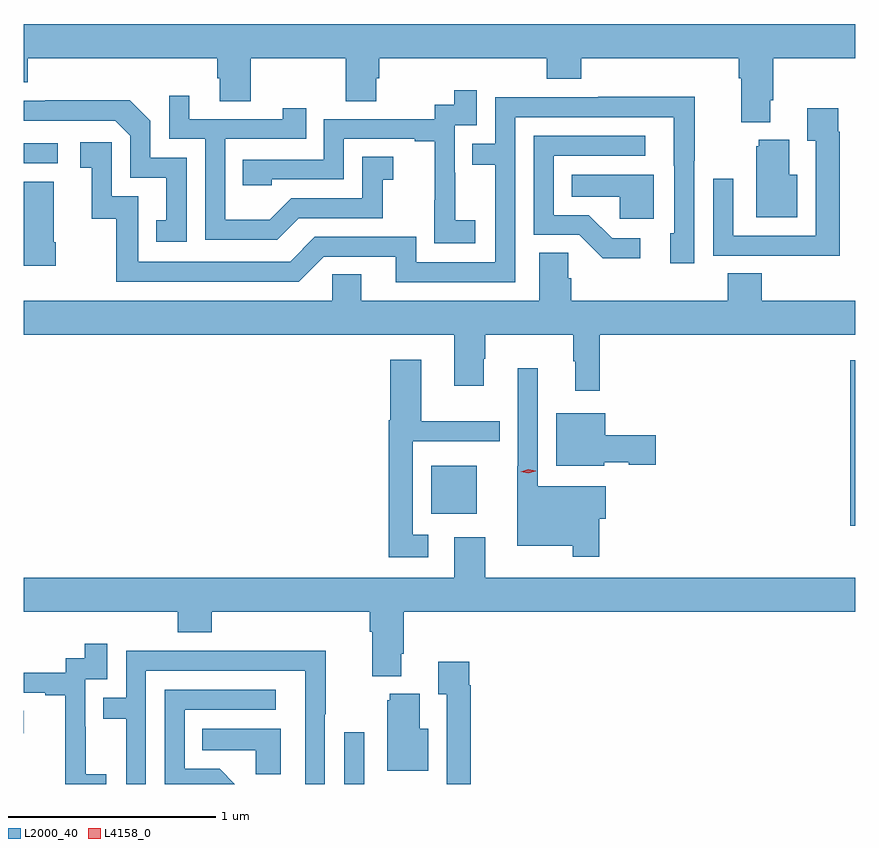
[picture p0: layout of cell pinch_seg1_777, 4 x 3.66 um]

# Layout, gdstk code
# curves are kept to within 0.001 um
import gdstk
lib = gdstk.Library(unit=1e-6, precision=1e-09)
def R(c, l, rs):  # rectangles x0, y0, x1, y1
    for r in rs: c.add(gdstk.rectangle(r[:2], r[2:], *l))
def P(c, l, *ps):  # polygons
    for p in ps: c.add(gdstk.Polygon(p, *l))
L2000_40 = (2000, 40)
L4158_0 = (4158, 0)

pinch_seg1_777 = lib.new_cell('pinch_seg1_777')
R(pinch_seg1_777, L2000_40, [(554.511,542.912,554.607,543.16), (552.969,543.155,552.97,543.265), (556.945,544.154,556.969,544.951), (554.93,544.211,555.148,544.444), (552.969,545.898,553.132,545.994)])
P(pinch_seg1_777, L2000_40, [(556.561,546.202),(556.574,546.202),(556.574,546.404),(556.969,546.404),(556.969,546.568),(552.969,546.568),(552.969,546.287),(552.989,546.287),(552.989,546.404),(553.901,546.404),(553.901,546.306),(553.913,546.306),(553.913,546.196),(554.061,546.196),(554.061,546.404),(554.518,546.404),(554.518,546.196),(554.665,546.196),(554.665,546.306),(554.678,546.306),(554.678,546.404),(555.485,546.404),(555.485,546.305),(555.65,546.305),(555.65,546.404),(556.409,546.404),(556.409,546.308),(556.421,546.308),(556.421,546.095),(556.561,546.095)],
  [(555.142,545.623),(555.044,545.623),(555.044,545.852),(555.042,545.852),(555.042,546.081),(555.147,546.081),(555.147,546.25),(555.039,546.25),(555.039,546.18),(554.946,546.18),(554.946,546.111),(554.412,546.111),(554.412,545.916),(554.023,545.916),(554.023,545.793),(554.163,545.793),(554.163,545.82),(554.508,545.82),(554.508,546.015),(554.849,546.015),(554.849,546.003),(554.945,546.003),(554.945,545.719),(554.944,545.719),(554.944,545.513),(555.142,545.513)],
  [(554.293,545.634),(554.697,545.634),(554.697,545.819),(554.746,545.819),(554.746,545.929),(554.598,545.929),(554.598,545.73),(554.256,545.73),(554.152,545.626),(553.938,545.626),(553.938,546.015),(554.327,546.015),(554.327,546.163),(554.216,546.163),(554.216,546.111),(553.765,546.111),(553.765,546.223),(553.668,546.223),(553.668,546.015),(553.842,546.015),(553.842,545.529),(554.188,545.529)],
  [(555.333,546.12),(556.097,546.12),(556.098,545.562),(556.079,545.562),(556.079,545.418),(556.194,545.418),(556.194,545.911),(556.197,545.911),(556.197,546.218),(555.733,546.218),(555.733,546.216),(555.237,546.216),(555.237,545.991),(555.127,545.991),(555.127,545.89),(555.237,545.89),(555.237,545.421),(554.856,545.421),(554.856,545.544),(554.37,545.544),(554.25,545.424),(553.521,545.424),(553.521,545.739),(553.392,545.739),(553.392,545.998),(553.242,545.998),(553.242,545.877),(553.295,545.877),(553.295,545.631),(553.413,545.631),(553.413,545.328),(554.292,545.328),(554.412,545.448),(554.759,545.448),(554.759,545.325),(555.333,545.325)],
  [(553.752,545.925),(553.578,545.925),(553.578,546.102),(553.48,546.2),(553.072,546.2),(553.072,546.198),(552.969,546.198),(552.969,546.102),(553.41,546.102),(553.482,546.03),(553.482,545.829),(553.655,545.829),(553.655,545.625),(553.606,545.625),(553.606,545.52),(553.752,545.52)],
  [(556.895,546.05),(556.888,546.05),(556.888,546.163),(556.739,546.163),(556.739,546.007),(556.779,546.007),(556.779,545.55),(556.383,545.55),(556.383,545.824),(556.287,545.824),(556.287,545.454),(556.603,545.454),(556.603,545.453),(556.895,545.453)],
  [(555.934,545.538),(555.799,545.538),(555.688,545.649),(555.519,545.649),(555.519,545.934),(555.958,545.934),(555.958,546.03),(555.423,546.03),(555.423,545.553),(555.642,545.553),(555.755,545.441),(555.934,545.441)],
  [(556.69,545.842),(556.651,545.842),(556.651,546.01),(556.505,546.01),(556.505,545.979),(556.493,545.979),(556.493,545.639),(556.69,545.639)],
  [(556,545.842),(555.604,545.842),(555.604,545.738),(555.835,545.738),(555.835,545.63),(556,545.63)],
  [(553.122,545.518),(553.114,545.518),(553.114,545.809),(552.969,545.809),(552.969,545.406),(553.122,545.406)],
  [(554.593,545.363),(554.454,545.363),(554.454,545.236),(552.969,545.236),(552.969,545.072),(555.041,545.072),(555.041,544.827),(555.181,544.827),(555.181,544.958),(555.189,544.958),(555.189,545.072),(555.612,545.072),(555.612,544.946),(555.623,544.946),(555.623,544.803),(555.74,544.803),(555.74,545.072),(556.969,545.072),(556.969,545.236),(556.52,545.236),(556.52,545.369),(556.355,545.369),(556.355,545.236),(555.602,545.236),(555.602,545.345),(555.588,545.345),(555.588,545.468),(555.449,545.468),(555.449,545.236),(554.593,545.236)],
  [(554.914,544.111),(554.841,544.111),(554.841,544.56),(555.26,544.56),(555.26,544.657),(554.881,544.657),(554.881,544.954),(554.732,544.954),(554.732,544.663),(554.725,544.663),(554.725,544.002),(554.914,544.002)],
  [(555.737,544.187),(555.769,544.187),(555.769,544.345),(555.441,544.345),(555.441,544.912),(555.345,544.912),(555.345,544.441),(555.344,544.441),(555.344,544.058),(555.609,544.058),(555.609,544.005),(555.737,544.005)],
  [(555.762,544.46),(555.879,544.46),(555.879,544.448),(556.009,544.448),(556.009,544.59),(555.766,544.59),(555.766,544.696),(555.53,544.696),(555.53,544.442),(555.762,544.442)],
  [(554.785,543.538),(554.798,543.538),(554.798,543.74),(556.969,543.74),(556.969,543.904),(555.19,543.904),(555.19,544.099),(555.041,544.099),(555.041,543.904),(552.969,543.904),(552.969,543.74),(553.709,543.74),(553.709,543.641),(553.874,543.641),(553.874,543.74),(554.633,543.74),(554.633,543.644),(554.645,543.644),(554.645,543.431),(554.785,543.431)],
  [(553.366,542.959),(553.268,542.959),(553.268,543.188),(553.266,543.188),(553.266,543.417),(553.371,543.417),(553.371,543.586),(553.263,543.586),(553.263,543.516),(553.17,543.516),(553.17,543.447),(552.969,543.447),(552.969,543.351),(553.073,543.351),(553.073,543.339),(553.169,543.339),(553.169,543.055),(553.168,543.055),(553.168,542.912),(553.366,542.912)],
  [(553.557,543.456),(554.322,543.456),(554.322,542.912),(554.418,542.912),(554.418,543.247),(554.421,543.247),(554.421,543.554),(553.957,543.554),(553.957,543.552),(553.461,543.552),(553.461,543.327),(553.351,543.327),(553.351,543.226),(553.461,543.226),(553.461,542.912),(553.557,542.912)],
  [(555.119,543.386),(555.112,543.386),(555.112,543.499),(554.963,543.499),(554.963,543.343),(555.003,543.343),(555.003,542.912),(555.119,542.912)],
  [(553.912,542.985),(553.743,542.985),(553.743,543.27),(554.182,543.27),(554.182,543.366),(553.647,543.366),(553.647,542.912),(553.985,542.912)],
  [(554.914,543.178),(554.875,543.178),(554.875,543.346),(554.729,543.346),(554.729,543.315),(554.717,543.315),(554.717,542.975),(554.914,542.975)],
  [(554.206,543.178),(553.828,543.178),(553.828,543.074),(554.085,543.074),(554.085,542.959),(554.206,542.959)])
P(pinch_seg1_777, L4158_0, [(555.396,544.406),(555.36,544.414),(555.36,544.414),(555.36,544.414),(555.395,544.426),(555.431,544.418),(555.431,544.418),(555.431,544.417)])

lib.write_gds('pinch_seg1_777.gds')
